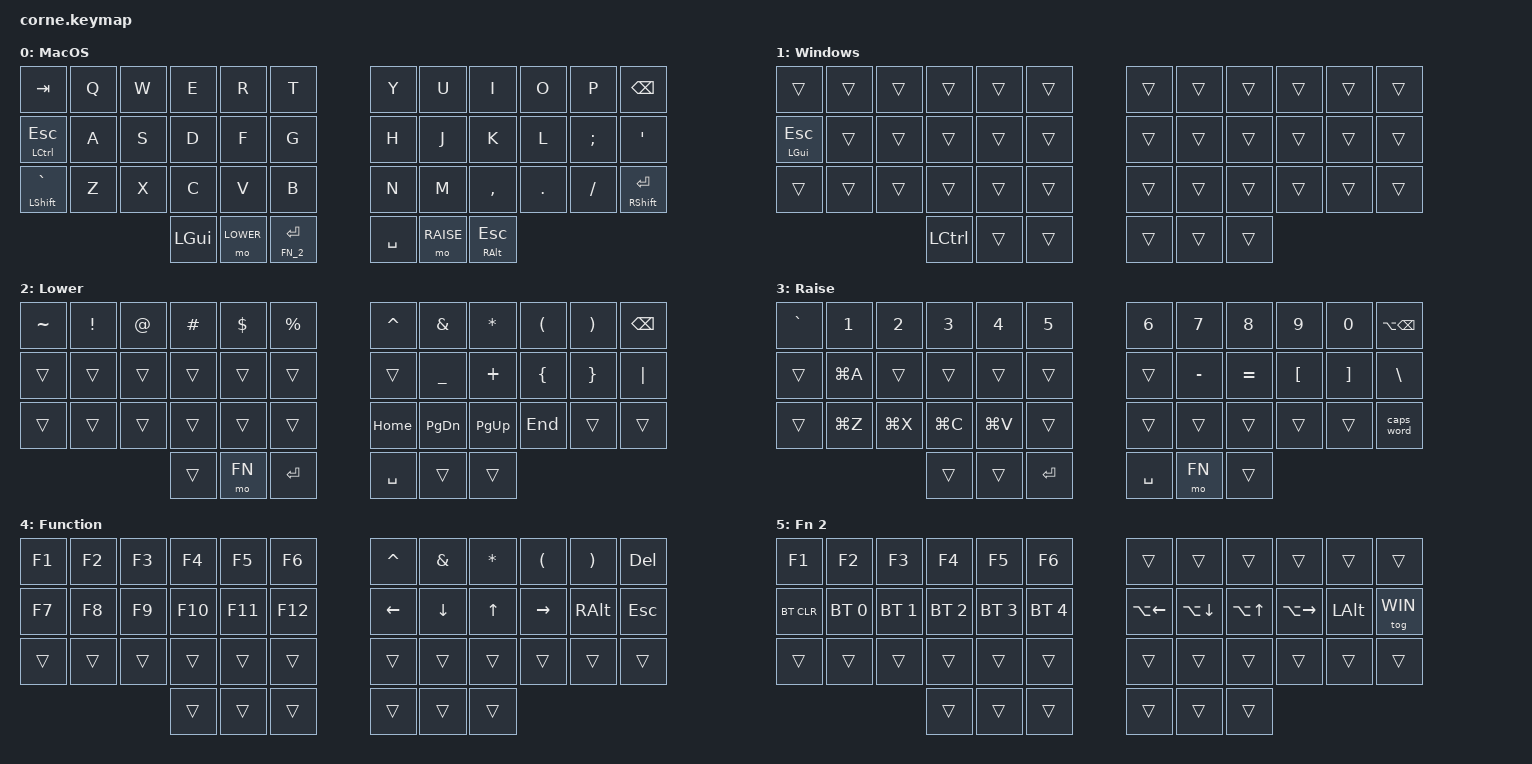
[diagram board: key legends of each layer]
/*
 * Copyright (c) 2020 The ZMK Contributors
 *
 * SPDX-License-Identifier: MIT
 */

#include <behaviors.dtsi>
#include <dt-bindings/zmk/bt.h>
#include <dt-bindings/zmk/keys.h>

#define DEFAULT 0
#define WIN 1
#define RAISE 2
#define LOWER 3
#define FN 4
#define FN_2 5

/ {
    keymap {
        compatible = "zmk,keymap";

        default_layer {
            // -----------------------------------------------------------------------------------------
            // |  TAB |  Q  |  W  |  E  |  R  |  T  |   |  Y  |  U   |  I  |  O  |  P  | BKSP |
            // | CTRL |  A  |  S  |  D  |  F  |  G  |   |  H  |  J   |  K  |  L  |  ;  |  '   |
            // | SHFT |  Z  |  X  |  C  |  V  |  B  |   |  N  |  M   |  ,  |  .  |  /  | SHFT |
            //                    | GUI | LWR | ENT |   | SPC | RSE  | ALT |

            label = "MacOS";
            bindings = <
&kp TAB               &kp Q  &kp W  &kp E     &kp R      &kp T                &kp Y      &kp U      &kp I              &kp O    &kp P     &kp BSPC
&mt LCTRL ESC         &kp A  &kp S  &kp D     &kp F      &kp G                &kp H      &kp J      &kp K              &kp L    &kp SEMI  &kp SQT
&mt LEFT_SHIFT GRAVE  &kp Z  &kp X  &kp C     &kp V      &kp B                &kp N      &kp M      &kp COMMA          &kp DOT  &kp FSLH  &mt RIGHT_SHIFT RETURN
                                    &kp LGUI  &mo LOWER  &lt FN_2 ENTER       &kp SPACE  &mo RAISE  &mt RIGHT_ALT ESC
            >;
        };

        win_layer {
            // -----------------------------------------------------------------------------------------
            // |  TAB |  Q  |  W  |  E  |  R  |  T  |   |  Y  |  U   |  I  |  O  |  P  | BKSP |
            // | LWIN |  A  |  S  |  D  |  F  |  G  |   |  H  |  J   |  K  |  L  |  ;  |  '   |
            // | SHFT |  Z  |  X  |  C  |  V  |  B  |   |  N  |  M   |  ,  |  .  |  /  | SHFT |
            //                    | CTRL| LWR | ENT |   | SPC | RSE  | ALT |

            label = "Windows";
            bindings = <
&trans         &trans   &trans   &trans       &trans   &trans          &trans   &trans    &trans   &trans   &trans   &trans
&mt LGUI ESC   &trans   &trans   &trans       &trans   &trans          &trans   &trans    &trans   &trans   &trans   &trans
&trans         &trans   &trans   &trans       &trans   &trans          &trans   &trans    &trans   &trans   &trans   &trans
                                 &kp LCTRL    &trans   &trans          &trans   &trans    &trans
            >;
        };

        lower_layer {
            // -----------------------------------------------------------------------------------------
            // |  ~   |  !  |  @  |  #  |  $  |  %  |   |  ^  |  &  |  *  |  (  |  )  | BKSP |
            // | CTRL |  A  |  S  |  D  |  F  |  G  |   | H   |  _  |  +  |  {  |  }  | "|"  |
            // | SHFT |  Z  |  X  |  C  |  V  |  B  |   | HOME| PGDN| PGUP| END |  /  | SHFT |
            //                    | GUI |     | ENT |   | SPC |     | ALT |

            label = "Lower";
            bindings = <
&kp TILDE    &kp EXCL  &kp AT  &kp POUND  &kp DLLR  &kp PRCNT           &kp CARET  &kp AMPS       &kp STAR     &kp LPAR   &kp RPAR  &kp BKSP
&trans       &trans    &trans  &trans     &trans    &trans              &trans     &kp UNDER      &kp PLUS     &kp LBRC   &kp RBRC  &kp PIPE
&trans       &trans    &trans  &trans     &trans    &trans              &kp HOME   &kp PAGE_DOWN  &kp PAGE_UP  &kp END    &trans    &trans
                               &trans     &mo FN    &kp ENTER           &kp SPACE  &trans         &trans
            >;
        };

        raise_layer {
            // -----------------------------------------------------------------------------------------
            // |  `   |  1  |  2  |  3  |  4  |  5  |   |  6  |  7  |  8  |  9  |  0  |BKSP-W|
            // | CTRL | C-A | S   |  D  |  F  |  G  |   |  H  | -/_ | =/+ |  [  |  ]  |  \   |
            // | SHFT | C-Z | C-X | C-C | C-V |  B  |   |  N  |  M  |  ,  |  .  |  /  | SHFT |
            //                    | GUI |     | SPC |   | ENT | FN2 | BKSP |

            label = "Raise";
            bindings = <
&kp GRAVE   &kp N1    &kp N2     &kp N3     &kp N4     &kp N5         &kp N6     &kp N7      &kp N8        &kp N9    &kp N0    &kp LA(BKSP)
&trans      &kp LG(A) &trans     &trans     &trans     &trans         &trans     &kp MINUS   &kp EQUAL     &kp LBKT  &kp RBKT  &kp BSLH
&trans      &kp LG(Z) &kp LG(X)  &kp LG(C)  &kp LG(V)  &trans         &trans     &trans      &trans        &trans    &trans    &caps_word
                                 &trans     &trans     &kp ENTER      &kp SPACE  &mo FN      &trans
            >;
        };

        function_layer {
            // -----------------------------------------------------------------------------------------
            // |  F1  |  F2 |  F3 |  F4 |  F5 |  F6 |   |  ^  |  &  |  *  |  (  |  )  |  DEL |
            // |  F7  |  F8 |  F9 | F10 | F11 | F12 |   | LFT | DWN | UP  | RT  | ALT |  ESC |
            // | SHFT |  Z  |  X  |  C  |  V  |  B  |   |  N  |  M  |  ,  |  .  |  /  | SHFT |
            //                    | GUI |     | SPC |   | ENT |     | ALT |

            bindings = <
&kp F1  &kp F2  &kp F3  &kp F4   &kp F5   &kp F6         &kp CARET  &kp AMPS    &kp STAR  &kp LPAR   &kp RPAR       &kp DEL
&kp F7  &kp F8  &kp F9  &kp F10  &kp F11  &kp F12        &kp LEFT   &kp DOWN    &kp UP    &kp RIGHT  &kp RIGHT_ALT  &kp ESC
&trans  &trans  &trans  &trans   &trans   &trans         &trans     &trans      &trans    &trans     &trans         &trans
                        &trans   &trans   &trans         &trans     &trans      &trans
            >;

            label = "Function";
        };

        other_layer {
            // -----------------------------------------------------------------------------------------
            // |  F1  |  F2 |  F3 |  F4 |  F5 |  F6 |   |  Y  |  U  |  I  |  O  |  P  | BKSP |
            // | BTSEL| BT1 | BT2 | BT3 | BT4 | BT5 |   | L-W | D-W | U-W | R-W | LALT| ESC  |
            // | SHFT |  Z  |  X  |  C  |  V  |  B  |   |  N  |  M  |  ,  |  .  |  /  | SHFT |
            //                    | GUI |     | SPC |   | ENT |     | ALT |

            bindings = <
&kp F1      &kp F2        &kp F3        &kp F4        &kp F5        &kp F6              &trans        &trans        &trans     &trans        &trans    &trans
&bt BT_CLR  &bt BT_SEL 0  &bt BT_SEL 1  &bt BT_SEL 2  &bt BT_SEL 3  &bt BT_SEL 4        &kp LA(LEFT)  &kp LA(DOWN)  &kp LA(UP) &kp LA(RIGHT) &kp LALT  &tog WIN
&trans      &trans        &trans        &trans        &trans        &trans              &trans        &trans        &trans     &trans        &trans    &trans
                                        &trans        &trans        &trans              &trans        &trans        &trans
            >;
            label = "Fn 2";
        };
    };
};

